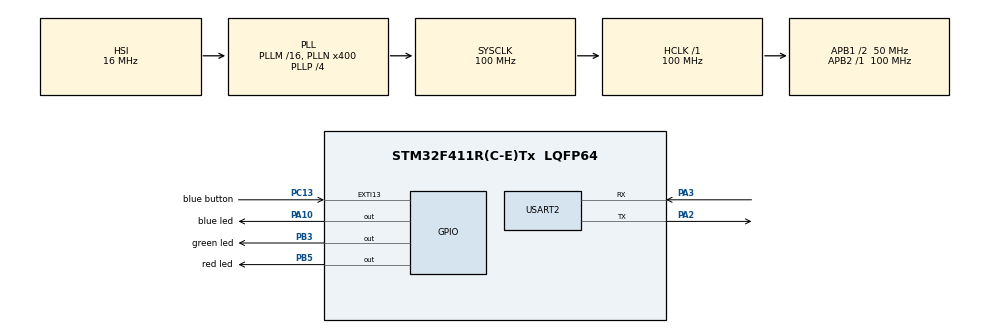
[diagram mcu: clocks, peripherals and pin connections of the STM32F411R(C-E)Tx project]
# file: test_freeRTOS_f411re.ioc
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FREERTOS.BinarySemaphores01=ButtonPressesSem,Dynamic,NULL,Available
FREERTOS.Tasks01=ProcessingTask,24,128,ProcessingTaskRoutine,Default,NULL,Dynamic,NULL,NULL
FREERTOS.configUSE_NEWLIB_REENTRANT=1
Mcu.Family=STM32F4
Mcu.Name=STM32F411R(C-E)Tx
Mcu.Package=LQFP64
NVIC.EXTI15_10_IRQn=true\:5\:0\:false\:false\:true\:true\:true\:true\:true
NVIC.PriorityGroup=NVIC_PRIORITYGROUP_4
NVIC.TIM1_UP_TIM10_IRQn=true\:15\:0\:false\:false\:true\:false\:false\:true\:true
NVIC.TimeBase=TIM1_UP_TIM10_IRQn
NVIC.TimeBaseIP=TIM10
PA10.GPIO_Label=blue led
PA10.Signal=GPIO_Output
PA13.Mode=Serial_Wire
PA13.Signal=SYS_JTMS-SWDIO
PA14.Mode=Serial_Wire
PA14.Signal=SYS_JTCK-SWCLK
PA2.Mode=Asynchronous
PA2.Signal=USART2_TX
PA3.Mode=Asynchronous
PA3.Signal=USART2_RX
PB3.GPIO_Label=green led
PB3.Signal=GPIO_Output
PB5.GPIO_Label=red led
PB5.Signal=GPIO_Output
PC13-ANTI_TAMP.GPIO_Label=blue button
PC13-ANTI_TAMP.GPIO_ModeDefaultEXTI=GPIO_MODE_IT_FALLING
PC13-ANTI_TAMP.Signal=GPXTI13
ProjectManager.HeapSize=0x200
ProjectManager.StackSize=0x400
ProjectManager.TargetToolchain=STM32CubeIDE
RCC.48MHZClocksFreq_Value=100000000
RCC.AHBFreq_Value=100000000
RCC.APB1CLKDivider=RCC_HCLK_DIV2
RCC.APB1Freq_Value=50000000
RCC.APB1TimFreq_Value=100000000
RCC.APB2Freq_Value=100000000
RCC.APB2TimFreq_Value=100000000
RCC.CortexFreq_Value=100000000
RCC.FLatency-AdvancedSettings=FLASH_LATENCY_3
RCC.HCLKFreq_Value=100000000
RCC.HSE_VALUE=8000000
RCC.HSI_VALUE=16000000
RCC.LSE_VALUE=32768
RCC.PLLN=400
RCC.PLLP=RCC_PLLP_DIV4
RCC.SYSCLKFreq_VALUE=100000000
RCC.SYSCLKSource=RCC_SYSCLKSOURCE_PLLCLK
RCC.VCOOutputFreq_Value=400000000
USART2.VirtualMode=VM_ASYNC
VP_FREERTOS_VS_CMSIS_V2.Mode=CMSIS_V2
VP_SYS_VS_tim10.Mode=TIM10
board=NUCLEO-F411RE

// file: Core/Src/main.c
/* USER CODE BEGIN Header */
/**
  ******************************************************************************
  * @file           : main.c
  * @brief          : Main program body
  ******************************************************************************
  * @attention
  *
  * Copyright (c) 2026 STMicroelectronics.
  * All rights reserved.
  *
  * This software is licensed under terms that can be found in the LICENSE file
  * in the root directory of this software component.
  * If no LICENSE file comes with this software, it is provided AS-IS.
  *
  ******************************************************************************
  */
/* USER CODE END Header */
#include "main.h"
#include "cmsis_os.h"

/* USER CODE BEGIN Includes */
#include "string.h"
#include "stdint.h"
#include "stdio.h"
/* USER CODE END Includes */

UART_HandleTypeDef huart2;

/* Definitions for ProcessingTask */
osThreadId_t ProcessingTaskHandle;
const osThreadAttr_t ProcessingTask_attributes = {
  .name = "ProcessingTask",
  .stack_size = 128 * 4,
  .priority = (osPriority_t) osPriorityNormal,
};
/* Definitions for ButtonPressesSem */
osSemaphoreId_t ButtonPressesSemHandle;
const osSemaphoreAttr_t ButtonPressesSem_attributes = {
  .name = "ButtonPressesSem"
};

void SystemClock_Config(void);
static void MX_GPIO_Init(void);
static void MX_USART2_UART_Init(void);
void ProcessingTaskRoutine(void *argument);

/* USER CODE BEGIN 0 */
typedef struct
{
    uint32_t timestamp;
    int32_t  value;
} AppMessage_t;

uint32_t num_of_sensor_events 	 	= 0;
uint32_t num_of_events_processed 	= 0;
uint32_t num_of_sem_release_fail    = 0;
uint32_t diff  						= 0;

/* USER CODE END 0 */

int main(void)
{

  /* MCU Configuration--------------------------------------------------------*/

  /* Reset of all peripherals, Initializes the Flash interface and the Systick. */
  HAL_Init();

  /* Configure the system clock */
  SystemClock_Config();

  /* Initialize all configured peripherals */
  MX_GPIO_Init();
  MX_USART2_UART_Init();

  /* Init scheduler */
  osKernelInitialize();

  /* Create the semaphores(s) */
  /* creation of ButtonPressesSem */
  ButtonPressesSemHandle = osSemaphoreNew(1, 0, &ButtonPressesSem_attributes);

  /* Create the thread(s) */
  /* creation of ProcessingTask */
  ProcessingTaskHandle = osThreadNew(ProcessingTaskRoutine, NULL, &ProcessingTask_attributes);

  /* Start scheduler */
  osKernelStart();

  /* We should never get here as control is now taken by the scheduler */

  /* Infinite loop */
  while (1)
  {

  }
}

void SystemClock_Config(void)
{
  RCC_OscInitTypeDef RCC_OscInitStruct = {0};
  RCC_ClkInitTypeDef RCC_ClkInitStruct = {0};

  /** Configure the main internal regulator output voltage
  */
  __HAL_RCC_PWR_CLK_ENABLE();
  __HAL_PWR_VOLTAGESCALING_CONFIG(PWR_REGULATOR_VOLTAGE_SCALE1);

  /** Initializes the RCC Oscillators according to the specified parameters
  * in the RCC_OscInitTypeDef structure.
  */
  RCC_OscInitStruct.OscillatorType = RCC_OSCILLATORTYPE_HSI;
  RCC_OscInitStruct.HSIState = RCC_HSI_ON;
  RCC_OscInitStruct.HSICalibrationValue = RCC_HSICALIBRATION_DEFAULT;
  RCC_OscInitStruct.PLL.PLLState = RCC_PLL_ON;
  RCC_OscInitStruct.PLL.PLLSource = RCC_PLLSOURCE_HSI;
  RCC_OscInitStruct.PLL.PLLM = 16;
  RCC_OscInitStruct.PLL.PLLN = 400;
  RCC_OscInitStruct.PLL.PLLP = RCC_PLLP_DIV4;
  RCC_OscInitStruct.PLL.PLLQ = 4;
  if (HAL_RCC_OscConfig(&RCC_OscInitStruct) != HAL_OK)
  {
    Error_Handler();
  }

  /** Initializes the CPU, AHB and APB buses clocks
  */
  RCC_ClkInitStruct.ClockType = RCC_CLOCKTYPE_HCLK|RCC_CLOCKTYPE_SYSCLK
                              |RCC_CLOCKTYPE_PCLK1|RCC_CLOCKTYPE_PCLK2;
  RCC_ClkInitStruct.SYSCLKSource = RCC_SYSCLKSOURCE_PLLCLK;
  RCC_ClkInitStruct.AHBCLKDivider = RCC_SYSCLK_DIV1;
  RCC_ClkInitStruct.APB1CLKDivider = RCC_HCLK_DIV2;
  RCC_ClkInitStruct.APB2CLKDivider = RCC_HCLK_DIV1;

  if (HAL_RCC_ClockConfig(&RCC_ClkInitStruct, FLASH_LATENCY_3) != HAL_OK)
  {
    Error_Handler();
  }
}

static void MX_USART2_UART_Init(void)
{

  huart2.Instance = USART2;
  huart2.Init.BaudRate = 115200;
  huart2.Init.WordLength = UART_WORDLENGTH_8B;
  huart2.Init.StopBits = UART_STOPBITS_1;
  huart2.Init.Parity = UART_PARITY_NONE;
  huart2.Init.Mode = UART_MODE_TX_RX;
  huart2.Init.HwFlowCtl = UART_HWCONTROL_NONE;
  huart2.Init.OverSampling = UART_OVERSAMPLING_16;
  if (HAL_UART_Init(&huart2) != HAL_OK)
  {
    Error_Handler();
  }

}

static void MX_GPIO_Init(void)
{
  GPIO_InitTypeDef GPIO_InitStruct = {0};

  /* GPIO Ports Clock Enable */
  __HAL_RCC_GPIOC_CLK_ENABLE();
  __HAL_RCC_GPIOA_CLK_ENABLE();
  __HAL_RCC_GPIOB_CLK_ENABLE();

  /*Configure GPIO pin Output Level */
  HAL_GPIO_WritePin(blue_led_GPIO_Port, blue_led_Pin, GPIO_PIN_RESET);

  /*Configure GPIO pin Output Level */
  HAL_GPIO_WritePin(GPIOB, green_led_Pin|red_led_Pin, GPIO_PIN_RESET);

  /*Configure GPIO pin : blue_button_Pin */
  GPIO_InitStruct.Pin = blue_button_Pin;
  GPIO_InitStruct.Mode = GPIO_MODE_IT_FALLING;
  GPIO_InitStruct.Pull = GPIO_NOPULL;
  HAL_GPIO_Init(blue_button_GPIO_Port, &GPIO_InitStruct);

  /*Configure GPIO pin : blue_led_Pin */
  GPIO_InitStruct.Pin = blue_led_Pin;
  GPIO_InitStruct.Mode = GPIO_MODE_OUTPUT_PP;
  GPIO_InitStruct.Pull = GPIO_NOPULL;
  GPIO_InitStruct.Speed = GPIO_SPEED_FREQ_LOW;
  HAL_GPIO_Init(blue_led_GPIO_Port, &GPIO_InitStruct);

  /*Configure GPIO pins : green_led_Pin red_led_Pin */
  GPIO_InitStruct.Pin = green_led_Pin|red_led_Pin;
  GPIO_InitStruct.Mode = GPIO_MODE_OUTPUT_PP;
  GPIO_InitStruct.Pull = GPIO_NOPULL;
  GPIO_InitStruct.Speed = GPIO_SPEED_FREQ_LOW;
  HAL_GPIO_Init(GPIOB, &GPIO_InitStruct);

  /* EXTI interrupt init*/
  HAL_NVIC_SetPriority(EXTI15_10_IRQn, 5, 0);
  HAL_NVIC_EnableIRQ(EXTI15_10_IRQn);

}

/* USER CODE BEGIN 4 */
void HAL_GPIO_EXTI_Callback(uint16_t GPIO_Pin)
{
    if (GPIO_Pin == GPIO_PIN_13)
    {
	  osSemaphoreRelease(ButtonPressesSemHandle);
    }
}
/* USER CODE END 4 */

void ProcessingTaskRoutine(void *argument)
{
  /* USER CODE BEGIN 5 */
//   uint32_t previous_tick = osKernelGetTickCount();
	uint8_t message_buff[20] = "button pressed\n";
    for (;;)
    {
//    	uint32_t current_tick = osKernelGetTickCount();
//		diff = current_tick - previous_tick;
//		previous_tick = current_tick;

//        num_of_sensor_events++;
        if (osOK == osSemaphoreAcquire(ButtonPressesSemHandle, osWaitForever))
        {
            HAL_UART_Transmit(&huart2, message_buff , strlen((char *)message_buff), HAL_MAX_DELAY);
            HAL_GPIO_TogglePin(red_led_GPIO_Port, red_led_Pin);
        }
    }
  /* USER CODE END 5 */
}

void HAL_TIM_PeriodElapsedCallback(TIM_HandleTypeDef *htim)
{
  if (htim->Instance == TIM10)
  {
    HAL_IncTick();
  }
}

void Error_Handler(void)
{
  __disable_irq();
  while (1)
  {
  }
}
